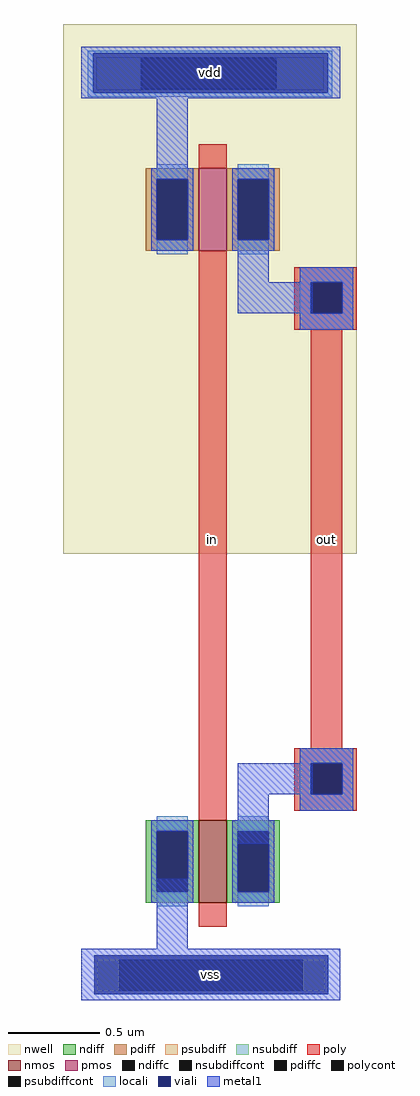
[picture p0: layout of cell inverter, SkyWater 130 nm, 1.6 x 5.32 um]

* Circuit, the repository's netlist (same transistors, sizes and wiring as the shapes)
** sch_path: /foss/designs/sch/inverter.sch
**.subckt inverter vdd out in vss
*.iopin out
*.iopin vss
*.iopin vdd
*.iopin in
XM2 out in vss vss sky130_fd_pr__nfet_01v8 L=0.15 W=0.45 nf=1 ad='int((nf+1)/2) * W/nf * 0.29' as='int((nf+2)/2) * W/nf * 0.29' pd='2*int((nf+1)/2) * (W/nf + 0.29)'
+ ps='2*int((nf+2)/2) * (W/nf + 0.29)' nrd='0.29 / W' nrs='0.29 / W' sa=0 sb=0 sd=0 mult=1 m=1
XM1 out in vdd vdd sky130_fd_pr__pfet_01v8 L=0.15 W=0.45 nf=1 ad='int((nf+1)/2) * W/nf * 0.29' as='int((nf+2)/2) * W/nf * 0.29' pd='2*int((nf+1)/2) * (W/nf + 0.29)'
+ ps='2*int((nf+2)/2) * (W/nf + 0.29)' nrd='0.29 / W' nrs='0.29 / W' sa=0 sb=0 sd=0 mult=1 m=1
**.ends
.end

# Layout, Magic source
magic
tech sky130A
magscale 1 2
<< poly >>
rect 622 728 652 1320
rect 744 746 778 1304
<< metal1 >>
rect 494 1504 776 1560
rect 576 1424 610 1504
rect 664 1304 698 1346
rect 664 1270 746 1304
rect 664 746 746 780
rect 664 692 698 746
rect 576 578 610 654
rect 494 522 776 578
use grid  grid_0 ../grid
transform 1 0 535 0 1 532
box -61 -10 259 1053
use sky130_fd_pr__nfet_01v8_SKHSUU  sky130_fd_pr__nfet_01v8_SKHSUU_0
transform 1 0 637 0 1 673
box -73 -71 73 71
use sky130_fd_pr__pfet_01v8_52DS5B  sky130_fd_pr__pfet_01v8_52DS5B_0
transform 1 0 637 0 1 1383
box -109 -107 109 107
use via_m1_p  via_m1_p_0 ../via_m1_p
transform 1 0 726 0 1 728
box 0 0 68 68
use via_m1_p  via_m1_p_2
transform 1 0 726 0 1 1252
box 0 0 68 68
<< labels >>
rlabel poly 622 728 652 1320 1 in
rlabel metal1 494 1504 776 1560 1 vdd
rlabel metal1 494 522 776 578 1 vss
rlabel space 744 728 778 1320 1 out
<< end >>

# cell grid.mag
magic
tech sky130A
magscale 1 2
<< nwell >>
rect -61 476 259 1053
<< psubdiff >>
rect -24 0 0 34
rect 200 0 224 34
<< nsubdiff >>
rect -25 1016 223 1017
rect -25 982 24 1016
rect 171 982 223 1016
rect -25 981 223 982
<< psubdiffcont >>
rect 0 0 200 34
<< nsubdiffcont >>
rect 24 982 171 1016
<< locali >>
rect -34 1021 232 1024
rect -34 978 -28 1021
rect 227 978 232 1021
rect -34 974 232 978
<< viali >>
rect -28 1016 227 1021
rect -28 982 24 1016
rect 24 982 171 1016
rect 171 982 227 1016
rect -28 978 227 982
rect -27 34 228 39
rect -27 0 0 34
rect 0 0 200 34
rect 200 0 228 34
rect -27 -4 228 0
<< metal1 >>
rect -40 1021 239 1027
rect -40 978 -28 1021
rect 227 978 239 1021
rect -40 972 239 978
rect -39 39 240 45
rect -39 -4 -27 39
rect 228 -4 240 39
rect -39 -10 240 -4
<< end >>

# cell sky130_fd_pr__nfet_01v8_SKHSUU: kit device sky130_fd_pr__nfet_01v8, w 0.450 l 0.150 m 1 nf 1 diffcov 100 polycov 100 guard 0 glc 0 grc 0 gtc 0 gbc 0 tbcov 100 rlcov 100 topc 0 botc 0 poverlap 0 doverlap 1 lmin 0.15 wmin 0.42 compatible {sky130_fd_pr__nfet_01v8 sky130_fd_pr__nfet_01v8_lvt sky130_fd_bs_flash__special_sonosfet_star sky130_fd_pr__nfet_g5v0d10v5 sky130_fd_pr__nfet_05v0_nvt sky130_fd_pr__nfet_03v3_nvt} full_metal 0 viasrc 100 viadrn 100 viagate 100 viagb 0 viagr 0 viagl 0 viagt 0

# cell sky130_fd_pr__pfet_01v8_52DS5B: kit device sky130_fd_pr__pfet_01v8, w 0.45 l 0.15 m 1 nf 1 diffcov 100 polycov 100 guard 0 glc 0 grc 0 gtc 0 gbc 0 tbcov 100 rlcov 100 topc 0 botc 0 poverlap 0 doverlap 1 lmin 0.15 wmin 0.42 compatible {sky130_fd_pr__pfet_01v8 sky130_fd_pr__pfet_01v8_lvt sky130_fd_pr__pfet_01v8_hvt sky130_fd_pr__pfet_g5v0d10v5} full_metal 0 viasrc 100 viadrn 100 viagate 100 viagb 0 viagr 0 viagl 0 viagt 0

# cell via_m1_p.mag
magic
tech sky130A
<< poly >>
rect 0 26 34 34
rect 0 9 9 26
rect 26 9 34 26
rect 0 0 34 9
<< polycont >>
rect 9 9 26 26
<< locali >>
rect 3 26 32 34
rect 3 9 9 26
rect 26 9 32 26
rect 3 0 32 9
<< viali >>
rect 9 9 26 26
<< metal1 >>
rect 3 26 32 34
rect 3 9 9 26
rect 26 9 32 26
rect 3 0 32 9
<< end >>
